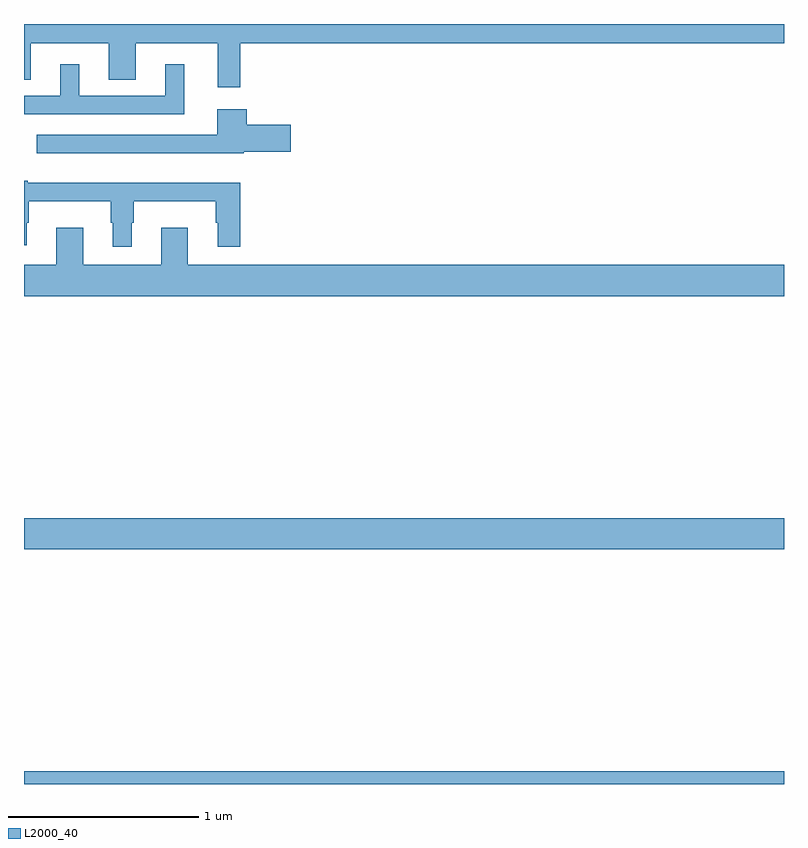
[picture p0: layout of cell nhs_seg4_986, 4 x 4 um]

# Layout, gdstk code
import gdstk
lib = gdstk.Library(unit=1e-6, precision=1e-09)
def R(c, l, rs):  # rectangles x0, y0, x1, y1
    for r in rs: c.add(gdstk.rectangle(r[:2], r[2:], *l))
def P(c, l, *ps):  # polygons
    for p in ps: c.add(gdstk.Polygon(p, *l))
L2000_40 = (2000, 40)

nhs_seg4_986 = lib.new_cell('nhs_seg4_986')
R(nhs_seg4_986, L2000_40, [(161,812.9,165,812.968), (161,814.136,165,814.3)])
P(nhs_seg4_986, L2000_40, [(161,816.607),(161.035,816.607),(161.035,816.8),(161.447,816.8),(161.447,816.607),(161.587,816.607),(161.587,816.8),(162.02,816.8),(162.02,816.567),(162.137,816.567),(162.137,816.8),(165,816.8),(165,816.9),(161,816.9)],
  [(161.843,816.688),(161.744,816.688),(161.744,816.522),(161.29,816.522),(161.29,816.688),(161.192,816.688),(161.192,816.522),(161,816.522),(161,816.426),(161.843,816.426)],
  [(162.156,816.227),(162.403,816.227),(162.403,816.369),(162.173,816.369),(162.173,816.451),(162.017,816.451),(162.017,816.318),(161.067,816.318),(161.067,816.221),(162.156,816.221)],
  [(161.566,815.855),(161.578,815.855),(161.578,815.966),(162.009,815.966),(162.009,815.855),(162.02,815.855),(162.02,815.727),(162.137,815.727),(162.137,816.064),(161.02,816.064),(161.02,816.076),(161,816.076),(161,815.736),(161.014,815.736),(161.014,815.855),(161.026,815.855),(161.026,815.966),(161.457,815.966),(161.457,815.855),(161.468,815.855),(161.468,815.727),(161.566,815.727)],
  [(165,815.632),(161.863,815.632),(161.863,815.827),(161.723,815.827),(161.723,815.632),(161.311,815.632),(161.311,815.827),(161.171,815.827),(161.171,815.632),(161,815.632),(161,815.468),(165,815.468)])

lib.write_gds('nhs_seg4_986.gds')
